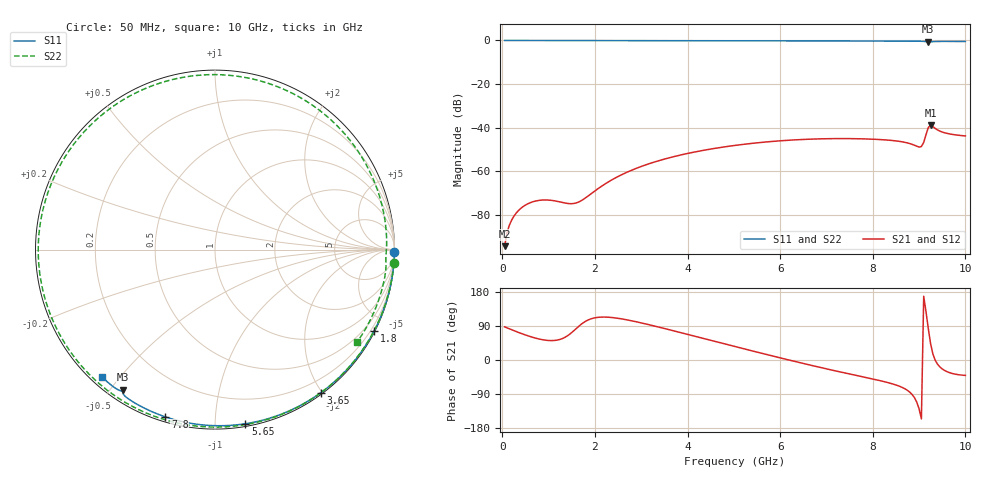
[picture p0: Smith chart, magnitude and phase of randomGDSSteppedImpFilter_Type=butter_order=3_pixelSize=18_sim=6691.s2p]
! freq	dB(S11)	phase(S11)	dB(S12)	phase(S12)
!  dB(S21)	phase(S21)	dB(S22)	phase(S22)
!S-par simulation data
#  GHz  S  DB  R 50
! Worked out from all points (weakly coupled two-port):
!   200 points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, 50 MHz to 10 GHz, reference 50 ohm
!   highest |S21| = -38.88 dB at 9.25 GHz (marker M1); lowest = -94.2 dB at 50 MHz (marker M2)
!   lowest |S11| = -0.6 dB at 9.2 GHz (marker M3), VSWR 28.76, Z = 2.25 - j27 ohm
!   |S11| at or under -10 dB: nowhere
!   |S22| runs from -0.5 to 0.0 dB; largest |S21 - S12| = 0
!   S11 on the Smith chart (normalised r, x): 50 MHz: open; 1.8 GHz: 0.04, -4.17; 3.65 GHz: 0.02, -1.99; 5.65 GHz: 0.02, -1.19; 7.8 GHz: 0.02, -0.75; 10 GHz: 0.03, -0.45
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0.05  -0.00 -0.8  -94.21 87.4  -94.21 87.4  -0.00 -4.4
0.25  -0.01 -3.8  -80.52 77.5  -80.52 77.5  -0.03 -21.7
0.5  -0.01 -7.6  -75.39 66.0  -75.39 66.0  -0.06 -42.5
0.85  -0.02 -12.9  -73.11 54.0  -73.11 54.0  -0.08 -69.3
1.25  -0.02 -18.8  -73.96 54.5  -73.96 54.5  -0.10 -95.7
1.55  -0.03 -23.3  -74.64 77.9  -74.64 77.9  -0.11 -112.7
1.75  -0.03 -26.3  -72.78 98.4  -72.78 98.4  -0.11 -123.0
1.8  -0.03 -27.0  -72.05 102.3  -72.05 102.3  -0.11 -125.4
2.55  -0.05 -37.9  -61.77 109.1  -61.77 109.1  -0.12 -157.3
3.4  -0.07 -50.0  -54.94 86.2  -54.94 86.2  -0.14 173.4
3.65  -0.07 -53.5  -53.49 78.6  -53.49 78.6  -0.14 165.5
5.05  -0.11 -72.4  -47.99 34.7  -47.99 34.7  -0.18 124.2
5.65  -0.13 -80.1  -46.58 16.2  -46.58 16.2  -0.20 106.9
6.7  -0.18 -93.3  -45.16 -14.9  -45.16 -14.9  -0.24 75.7
7.8  -0.25 -106.5  -45.07 -44.8  -45.07 -44.8  -0.28 41.6
8.35  -0.28 -113.0  -45.67 -60.4  -45.67 -60.4  -0.31 24.0
9.05  -0.38 -121.7  -48.57 -155.4  -48.57 -155.4  -0.39 0.8
9.1  -0.42 -122.5  -46.71 168.2  -46.71 168.2  -0.41 -0.8
9.2  -0.60 -123.2  -39.82 82.2  -39.82 82.2  -0.41 -3.9
9.25  -0.60 -122.9  -38.88 41.9  -38.88 41.9  -0.38 -5.6
9.55  -0.44 -126.2  -42.27 -27.6  -42.27 -27.6  -0.40 -16.3
10  -0.46 -131.5  -43.73 -40.6  -43.73 -40.6  -0.50 -32.9
